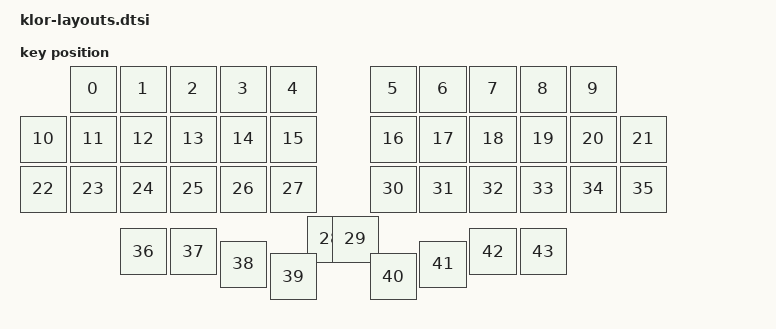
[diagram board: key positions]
#include <physical_layouts.dtsi>

/ {
    klor_saegewerk_layout: klor_saegewerk_layout {
        compatible = "zmk,physical-layout";
        display-name = "Saegewerk";

        keys = <
            /* Row 0: 10 keys (no outer pinky in matrix) */
            /* w    h     x    y   r   rx   ry */
            &key_physical_attrs 100 100  100    0   0    0    0  /* Q */
            &key_physical_attrs 100 100  200    0   0    0    0  /* W */
            &key_physical_attrs 100 100  300    0   0    0    0  /* E */
            &key_physical_attrs 100 100  400    0   0    0    0  /* R */
            &key_physical_attrs 100 100  500    0   0    0    0  /* T */
            &key_physical_attrs 100 100  700    0   0    0    0  /* Y */
            &key_physical_attrs 100 100  800    0   0    0    0  /* U */
            &key_physical_attrs 100 100  900    0   0    0    0  /* I */
            &key_physical_attrs 100 100 1000    0   0    0    0  /* O */
            &key_physical_attrs 100 100 1100    0   0    0    0  /* P */

            /* Row 1: 12 keys (outer pinky in matrix, broken off on saegewerk) */
            &key_physical_attrs 100 100    0  100   0    0    0  /* trans - left outer pinky */
            &key_physical_attrs 100 100  100  100   0    0    0  /* A */
            &key_physical_attrs 100 100  200  100   0    0    0  /* S */
            &key_physical_attrs 100 100  300  100   0    0    0  /* D */
            &key_physical_attrs 100 100  400  100   0    0    0  /* F */
            &key_physical_attrs 100 100  500  100   0    0    0  /* G */
            &key_physical_attrs 100 100  700  100   0    0    0  /* H */
            &key_physical_attrs 100 100  800  100   0    0    0  /* J */
            &key_physical_attrs 100 100  900  100   0    0    0  /* K */
            &key_physical_attrs 100 100 1000  100   0    0    0  /* L */
            &key_physical_attrs 100 100 1100  100   0    0    0  /* ; */
            &key_physical_attrs 100 100 1200  100   0    0    0  /* trans - right outer pinky */

            /* Row 2: 14 keys (outer pinky + encoder positions) */
            &key_physical_attrs 100 100    0  200   0    0    0  /* trans - left outer pinky */
            &key_physical_attrs 100 100  100  200   0    0    0  /* Z */
            &key_physical_attrs 100 100  200  200   0    0    0  /* X */
            &key_physical_attrs 100 100  300  200   0    0    0  /* C */
            &key_physical_attrs 100 100  400  200   0    0    0  /* V */
            &key_physical_attrs 100 100  500  200   0    0    0  /* B */
            &key_physical_attrs 100 100  575  300   0    0    0  /* trans - left encoder */
            &key_physical_attrs 100 100  625  300   0    0    0  /* trans - right encoder */
            &key_physical_attrs 100 100  700  200   0    0    0  /* N */
            &key_physical_attrs 100 100  800  200   0    0    0  /* M */
            &key_physical_attrs 100 100  900  200   0    0    0  /* , */
            &key_physical_attrs 100 100 1000  200   0    0    0  /* . */
            &key_physical_attrs 100 100 1100  200   0    0    0  /* / */
            &key_physical_attrs 100 100 1200  200   0    0    0  /* trans - right outer pinky */

            /* Thumb row: 8 keys (4+4, outer thumbs are trans) */
            &key_physical_attrs 100 100  200  325   0    0    0  /* trans - left outer thumb */
            &key_physical_attrs 100 100  300  325   0    0    0  /* LCTRL */
            &key_physical_attrs 100 100  400  350   0    0    0  /* LOWER */
            &key_physical_attrs 100 100  500  375   0    0    0  /* SPACE */
            &key_physical_attrs 100 100  700  375   0    0    0  /* ENTER */
            &key_physical_attrs 100 100  800  350   0    0    0  /* RAISE */
            &key_physical_attrs 100 100  900  325   0    0    0  /* BSPC */
            &key_physical_attrs 100 100 1000  325   0    0    0  /* trans - right outer thumb */
        >;
    };
};
